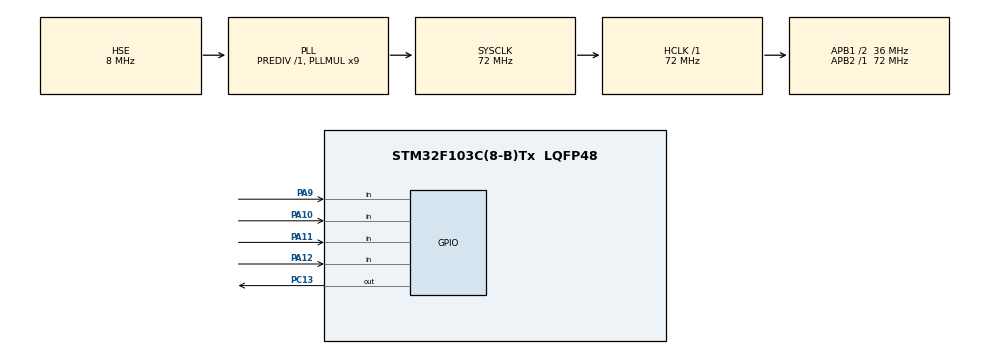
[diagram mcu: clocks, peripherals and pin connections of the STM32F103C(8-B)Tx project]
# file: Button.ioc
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Mcu.Family=STM32F1
Mcu.Name=STM32F103C(8-B)Tx
Mcu.Package=LQFP48
NVIC.PriorityGroup=NVIC_PRIORITYGROUP_4
PA10.GPIO_PuPd=GPIO_PULLUP
PA10.Signal=GPIO_Input
PA11.GPIO_PuPd=GPIO_PULLUP
PA11.Signal=GPIO_Input
PA12.GPIO_PuPd=GPIO_PULLUP
PA12.Signal=GPIO_Input
PA9.GPIO_PuPd=GPIO_PULLUP
PA9.Signal=GPIO_Input
PC13-TAMPER-RTC.Signal=GPIO_Output
PD0-OSC_IN.Mode=HSE-External-Oscillator
PD0-OSC_IN.Signal=RCC_OSC_IN
PD1-OSC_OUT.Mode=HSE-External-Oscillator
PD1-OSC_OUT.Signal=RCC_OSC_OUT
ProjectManager.HeapSize=0x200
ProjectManager.StackSize=0x400
ProjectManager.TargetToolchain=STM32CubeIDE
RCC.AHBFreq_Value=72000000
RCC.APB1CLKDivider=RCC_HCLK_DIV2
RCC.APB1Freq_Value=36000000
RCC.APB1TimFreq_Value=72000000
RCC.APB2Freq_Value=72000000
RCC.APB2TimFreq_Value=72000000
RCC.HCLKFreq_Value=72000000
RCC.PLLMUL=RCC_PLL_MUL9
RCC.PLLSourceVirtual=RCC_PLLSOURCE_HSE
RCC.SYSCLKFreq_VALUE=72000000
RCC.SYSCLKSource=RCC_SYSCLKSOURCE_PLLCLK
RCC.USBFreq_Value=72000000
VP_SYS_VS_ND.Mode=No_Debug
board=custom

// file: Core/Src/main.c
 /* USER CODE BEGIN Header */
/**
  ******************************************************************************
  * @file           : main.c
  * @brief          : Main program body
  ******************************************************************************
  * @attention
  *
  * Copyright (c) 2026 STMicroelectronics.
  * All rights reserved.
  *
  * This software is licensed under terms that can be found in the LICENSE file
  * in the root directory of this software component.
  * If no LICENSE file comes with this software, it is provided AS-IS.
  *
  ******************************************************************************
  */
/* USER CODE END Header */
#include "main.h"

void SystemClock_Config(void);
static void MX_GPIO_Init(void);

/* USER CODE BEGIN 0 */
typedef struct
{
    GPIO_PinState candidate;
    GPIO_PinState stable;
    uint32_t change_tick;
    uint32_t press_tick;
    uint8_t pressed;
    uint8_t long_handled;
    int event;
} Button;
int blink=0;
uint32_t blink_tick=0;
int buttonpress(GPIO_TypeDef *GPIOx, uint16_t GPIO_Pin, Button *btn)
{
    GPIO_PinState raw = HAL_GPIO_ReadPin(GPIOx, GPIO_Pin);
    uint32_t now = HAL_GetTick();
    if (raw != btn->candidate)
    {
        btn->candidate = raw;
        btn->change_tick = now;
    }
    if ((now - btn->change_tick) >= 20 && btn->stable != btn->candidate)
    {
        btn->stable = btn->candidate;
        if (btn->stable == GPIO_PIN_RESET)
        {
            btn->pressed = 1;
            btn->long_handled = 0;
            btn->press_tick = now;
        }
        else if (btn->pressed)
        {
            btn->pressed = 0;
            if (!btn->long_handled)
            {
                btn->event = 1;
                return 1;
            }
        }
    }
    if (btn->pressed && !btn->long_handled && (now - btn->press_tick) >= 1000)
    {
        btn->long_handled = 1;
        btn->event = 2;
        return 1;
    }
    return 0;
}
void buttons(void)
{
    static Button b9 = {GPIO_PIN_SET, GPIO_PIN_SET, 0, 0, 0, 0, 0};
    if (buttonpress(GPIOA, GPIO_PIN_9, &b9))
    {
        if (b9.event == 1)
        {
            if (blink)
                blink = 0;
            else
                HAL_GPIO_TogglePin(GPIOC, GPIO_PIN_13);
        }
        if (b9.event == 2)
        {
            blink = !blink;
            blink_tick = HAL_GetTick();
        }
    }
}
void blinking(void)
{
    if (blink && HAL_GetTick() - blink_tick >= 500)
    {
        HAL_GPIO_TogglePin(GPIOC, GPIO_PIN_13);
        blink_tick = HAL_GetTick();
    }
}
/* USER CODE END 0 */

int main(void)
{

  /* MCU Configuration--------------------------------------------------------*/

  /* Reset of all peripherals, Initializes the Flash interface and the Systick. */
  HAL_Init();

  /* Configure the system clock */
  SystemClock_Config();

  /* Initialize all configured peripherals */
  MX_GPIO_Init();

  /* Infinite loop */
  while (1)
  {
    buttons();
    blinking();
  }
}

void SystemClock_Config(void)
{
  RCC_OscInitTypeDef RCC_OscInitStruct = {0};
  RCC_ClkInitTypeDef RCC_ClkInitStruct = {0};

  /** Initializes the RCC Oscillators according to the specified parameters
  * in the RCC_OscInitTypeDef structure.
  */
  RCC_OscInitStruct.OscillatorType = RCC_OSCILLATORTYPE_HSE;
  RCC_OscInitStruct.HSEState = RCC_HSE_ON;
  RCC_OscInitStruct.HSEPredivValue = RCC_HSE_PREDIV_DIV1;
  RCC_OscInitStruct.HSIState = RCC_HSI_ON;
  RCC_OscInitStruct.PLL.PLLState = RCC_PLL_ON;
  RCC_OscInitStruct.PLL.PLLSource = RCC_PLLSOURCE_HSE;
  RCC_OscInitStruct.PLL.PLLMUL = RCC_PLL_MUL9;
  if (HAL_RCC_OscConfig(&RCC_OscInitStruct) != HAL_OK)
  {
    Error_Handler();
  }

  /** Initializes the CPU, AHB and APB buses clocks
  */
  RCC_ClkInitStruct.ClockType = RCC_CLOCKTYPE_HCLK|RCC_CLOCKTYPE_SYSCLK
                              |RCC_CLOCKTYPE_PCLK1|RCC_CLOCKTYPE_PCLK2;
  RCC_ClkInitStruct.SYSCLKSource = RCC_SYSCLKSOURCE_PLLCLK;
  RCC_ClkInitStruct.AHBCLKDivider = RCC_SYSCLK_DIV1;
  RCC_ClkInitStruct.APB1CLKDivider = RCC_HCLK_DIV2;
  RCC_ClkInitStruct.APB2CLKDivider = RCC_HCLK_DIV1;

  if (HAL_RCC_ClockConfig(&RCC_ClkInitStruct, FLASH_LATENCY_2) != HAL_OK)
  {
    Error_Handler();
  }
}

static void MX_GPIO_Init(void)
{
  GPIO_InitTypeDef GPIO_InitStruct = {0};

  /* GPIO Ports Clock Enable */
  __HAL_RCC_GPIOC_CLK_ENABLE();
  __HAL_RCC_GPIOD_CLK_ENABLE();
  __HAL_RCC_GPIOA_CLK_ENABLE();

  /*Configure GPIO pin Output Level */
  HAL_GPIO_WritePin(GPIOC, GPIO_PIN_13, GPIO_PIN_RESET);

  /*Configure GPIO pin : PC13 */
  GPIO_InitStruct.Pin = GPIO_PIN_13;
  GPIO_InitStruct.Mode = GPIO_MODE_OUTPUT_PP;
  GPIO_InitStruct.Pull = GPIO_NOPULL;
  GPIO_InitStruct.Speed = GPIO_SPEED_FREQ_LOW;
  HAL_GPIO_Init(GPIOC, &GPIO_InitStruct);

  /*Configure GPIO pins : PA9 PA10 PA11 PA12 */
  GPIO_InitStruct.Pin = GPIO_PIN_9|GPIO_PIN_10|GPIO_PIN_11|GPIO_PIN_12;
  GPIO_InitStruct.Mode = GPIO_MODE_INPUT;
  GPIO_InitStruct.Pull = GPIO_PULLUP;
  HAL_GPIO_Init(GPIOA, &GPIO_InitStruct);

}

void Error_Handler(void)
{
  __disable_irq();
  while (1)
  {
  }
}
